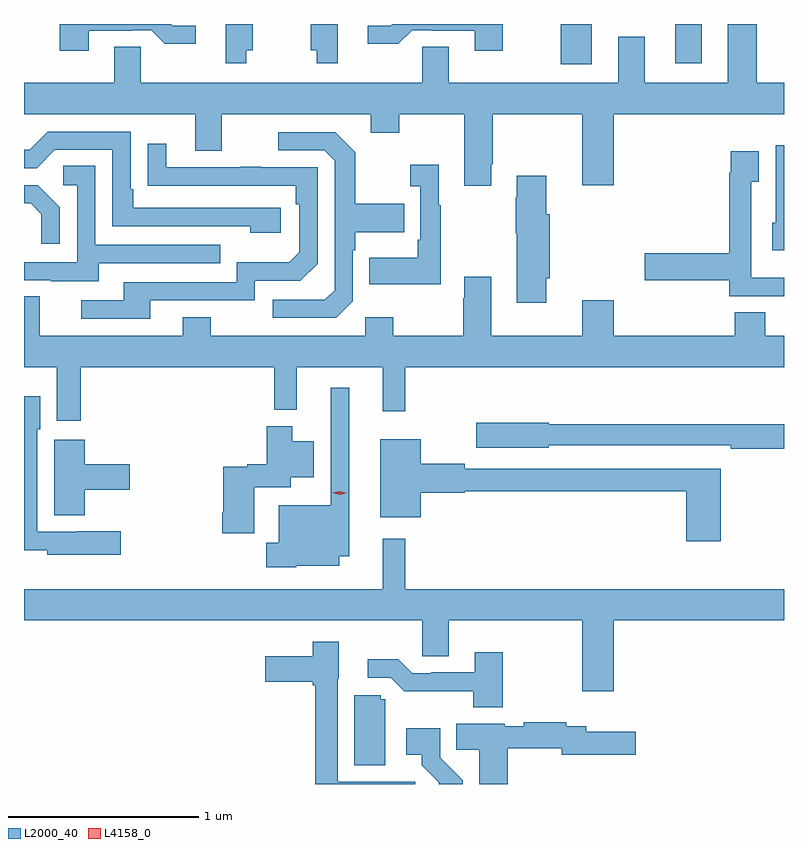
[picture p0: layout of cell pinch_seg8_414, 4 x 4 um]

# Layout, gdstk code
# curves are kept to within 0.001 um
import gdstk
lib = gdstk.Library(unit=1e-6, precision=1e-09)
def R(c, l, rs):  # rectangles x0, y0, x1, y1
    for r in rs: c.add(gdstk.rectangle(r[:2], r[2:], *l))
def P(c, l, *ps):  # polygons
    for p in ps: c.add(gdstk.Polygon(p, *l))
L2000_40 = (2000, 40)
L4158_0 = (4158, 0)

pinch_seg8_414 = lib.new_cell('pinch_seg8_414')
R(pinch_seg8_414, L2000_40, [(248.809,1135.41,248.974,1135.622), (249.413,1135.416,249.553,1135.622)])
P(pinch_seg8_414, L2000_40, [(248.443,1134.883),(248.451,1134.883),(248.451,1135.148),(248.924,1135.148),(248.924,1134.774),(249.088,1134.774),(249.088,1135.148),(249.985,1135.148),(249.985,1135.312),(249.842,1135.312),(249.842,1135.622),(249.689,1135.622),(249.689,1135.312),(249.253,1135.312),(249.253,1135.555),(249.113,1135.555),(249.113,1135.312),(248.221,1135.312),(248.221,1135.502),(248.082,1135.502),(248.082,1135.312),(246.6,1135.312),(246.6,1135.502),(246.461,1135.502),(246.461,1135.312),(245.985,1135.312),(245.985,1135.148),(246.887,1135.148),(246.887,1134.954),(247.027,1134.954),(247.027,1135.148),(247.811,1135.148),(247.811,1135.049),(247.959,1135.049),(247.959,1135.148),(248.303,1135.148),(248.303,1134.771),(248.443,1134.771)],
  [(247.156,1135.484),(247.188,1135.484),(247.188,1135.622),(247.046,1135.622),(247.046,1135.416),(247.156,1135.416)],
  [(248.505,1135.622),(247.922,1135.622),(247.914,1135.614),(247.794,1135.614),(247.794,1135.517),(247.955,1135.517),(248.028,1135.59),(248.128,1135.59),(248.128,1135.587),(248.357,1135.587),(248.357,1135.482),(248.505,1135.482)],
  [(246.325,1135.587),(246.554,1135.587),(246.554,1135.59),(246.654,1135.59),(246.727,1135.517),(246.889,1135.517),(246.889,1135.614),(246.768,1135.614),(246.76,1135.622),(246.173,1135.622),(246.173,1135.482),(246.325,1135.482)],
  [(247.636,1135.622),(247.495,1135.622),(247.495,1135.484),(247.527,1135.484),(247.527,1135.416),(247.636,1135.416)],
  [(247.336,1134.654),(246.559,1134.654),(246.559,1134.751),(246.546,1134.751),(246.546,1135.056),(246.111,1135.056),(246.015,1134.96),(245.985,1134.96),(245.985,1134.864),(246.051,1134.864),(246.147,1134.96),(246.45,1134.96),(246.45,1134.558),(247.175,1134.558),(247.175,1134.524),(247.336,1134.524)],
  [(247.716,1134.162),(247.716,1134.431),(247.729,1134.431),(247.729,1134.527),(247.985,1134.527),(247.985,1134.675),(247.729,1134.675),(247.729,1134.947),(247.623,1135.053),(247.323,1135.053),(247.323,1134.957),(247.566,1134.957),(247.62,1134.903),(247.62,1134.222),(247.569,1134.171),(247.293,1134.171),(247.293,1134.075),(247.629,1134.075)],
  [(246.649,1134.168),(247.2,1134.168),(247.2,1134.27),(247.44,1134.27),(247.53,1134.36),(247.53,1134.867),(247.235,1134.867),(247.235,1134.872),(247.123,1134.872),(247.123,1134.867),(246.733,1134.867),(246.733,1134.991),(246.637,1134.991),(246.637,1134.772),(247.414,1134.771),(247.414,1134.674),(247.434,1134.674),(247.434,1134.42),(247.381,1134.367),(247.104,1134.367),(247.104,1134.264),(246.509,1134.264),(246.509,1134.168),(246.285,1134.168),(246.285,1134.072),(246.649,1134.072)],
  [(249.985,1134.985),(249.941,1134.985),(249.941,1134.576),(249.923,1134.576),(249.923,1134.432),(249.985,1134.432)],
  [(249.985,1134.286),(249.813,1134.286),(249.813,1134.791),(249.853,1134.791),(249.853,1134.952),(249.705,1134.952),(249.705,1134.839),(249.697,1134.839),(249.697,1134.416),(249.252,1134.416),(249.252,1134.274),(249.697,1134.274),(249.697,1134.189),(249.947,1134.189),(249.947,1134.188),(249.985,1134.188)],
  [(248.179,1134.667),(248.167,1134.667),(248.167,1134.88),(248.019,1134.88),(248.019,1134.767),(248.07,1134.767),(248.07,1134.487),(248.058,1134.487),(248.058,1134.391),(247.801,1134.391),(247.801,1134.251),(248.179,1134.251)],
  [(246.379,1134.363),(247.019,1134.363),(247.019,1134.459),(246.36,1134.459),(246.36,1134.875),(246.192,1134.875),(246.192,1134.774),(246.264,1134.774),(246.264,1134.369),(245.985,1134.369),(245.985,1134.273),(246.125,1134.273),(246.125,1134.269),(246.379,1134.269)],
  [(248.734,1134.285),(248.752,1134.285),(248.752,1134.621),(248.734,1134.621),(248.734,1134.823),(248.579,1134.823),(248.579,1134.71),(248.572,1134.71),(248.572,1134.521),(248.579,1134.521),(248.579,1134.156),(248.734,1134.156)],
  [(246.174,1134.658),(246.058,1134.774),(245.985,1134.774),(245.985,1134.678),(246.02,1134.678),(246.077,1134.621),(246.077,1134.465),(246.174,1134.465)],
  [(249.985,1133.98),(249.885,1133.98),(249.885,1134.104),(249.725,1134.104),(249.725,1133.98),(249.088,1133.98),(249.088,1134.169),(248.924,1134.169),(248.924,1133.98),(248.443,1133.98),(248.443,1134.292),(248.303,1134.292),(248.303,1134.179),(248.296,1134.179),(248.296,1133.98),(247.929,1133.98),(247.929,1134.079),(247.782,1134.079),(247.782,1133.98),(246.969,1133.98),(246.969,1134.079),(246.821,1134.079),(246.821,1133.98),(246.067,1133.98),(246.067,1134.188),(245.985,1134.188),(245.985,1133.816),(246.158,1133.816),(246.158,1133.535),(246.284,1133.535),(246.284,1133.816),(247.303,1133.816),(247.303,1133.591),(247.421,1133.591),(247.421,1133.816),(247.874,1133.816),(247.874,1133.583),(247.991,1133.583),(247.991,1133.816),(249.985,1133.816)],
  [(247.419,1132.772),(247.645,1132.772),(247.645,1132.82),(247.696,1132.82),(247.696,1133.707),(247.599,1133.707),(247.599,1133.089),(247.325,1133.089),(247.325,1132.891),(247.26,1132.891),(247.26,1132.763),(247.419,1132.763)],
  [(246.493,1132.951),(246.266,1132.951),(246.266,1132.95),(246.054,1132.95),(246.054,1133.49),(246.07,1133.49),(246.07,1133.662),(245.985,1133.662),(245.985,1132.853),(246.108,1132.853),(246.108,1132.829),(246.493,1132.829)],
  [(249.985,1133.515),(248.748,1133.515),(248.748,1133.523),(248.364,1133.523),(248.364,1133.393),(248.748,1133.393),(248.748,1133.406),(249.706,1133.406),(249.706,1133.386),(249.985,1133.386)],
  [(247.196,1133.183),(247.39,1133.183),(247.39,1133.237),(247.51,1133.237),(247.51,1133.425),(247.396,1133.425),(247.396,1133.506),(247.262,1133.506),(247.262,1133.306),(247.161,1133.306),(247.161,1133.293),(247.033,1133.293),(247.033,1133.053),(247.028,1133.053),(247.028,1132.941),(247.196,1132.941)],
  [(249.653,1133.28),(248.304,1133.28),(248.304,1133.308),(248.074,1133.308),(248.074,1133.437),(247.859,1133.437),(247.859,1133.027),(248.074,1133.027),(248.074,1133.156),(248.304,1133.156),(248.304,1133.164),(249.47,1133.164),(249.47,1132.899),(249.653,1132.899)],
  [(246.305,1133.171),(246.541,1133.171),(246.541,1133.306),(246.305,1133.306),(246.305,1133.434),(246.143,1133.434),(246.143,1133.036),(246.305,1133.036)],
  [(249.088,1132.484),(249.985,1132.484),(249.985,1132.648),(247.991,1132.648),(247.991,1132.912),(247.873,1132.912),(247.873,1132.648),(245.985,1132.648),(245.985,1132.484),(248.082,1132.484),(248.082,1132.294),(248.221,1132.294),(248.221,1132.484),(248.924,1132.484),(248.924,1132.11),(249.088,1132.11)],
  [(248.044,1131.633),(247.635,1131.633),(247.635,1132.176),(247.642,1132.176),(247.642,1132.372),(247.506,1132.372),(247.506,1132.294),(247.254,1132.294),(247.254,1132.16),(247.506,1132.16),(247.506,1132.142),(247.519,1132.142),(247.519,1131.622),(248.044,1131.622)],
  [(248.505,1132.315),(248.357,1132.315),(248.357,1132.209),(248.128,1132.209),(248.128,1132.206),(248.028,1132.206),(247.955,1132.279),(247.794,1132.279),(247.794,1132.182),(247.914,1132.182),(247.987,1132.109),(248.35,1132.11),(248.35,1132.025),(248.505,1132.025)],
  [(247.885,1132.068),(247.863,1132.068),(247.863,1132.089),(247.724,1132.089),(247.724,1131.72),(247.885,1131.72)],
  [(248.531,1131.811),(248.816,1131.811),(248.816,1131.776),(249.205,1131.776),(249.205,1131.898),(248.944,1131.898),(248.944,1131.927),(248.84,1131.927),(248.84,1131.947),(248.614,1131.947),(248.614,1131.927),(248.514,1131.927),(248.514,1131.94),(248.26,1131.94),(248.26,1131.802),(248.381,1131.802),(248.381,1131.622),(248.531,1131.622)],
  [(248.294,1131.642),(248.175,1131.761),(248.175,1131.916),(247.998,1131.916),(247.998,1131.776),(248.078,1131.776),(248.078,1131.721),(248.169,1131.631),(248.169,1131.622),(248.294,1131.622)])
P(pinch_seg8_414, L4158_0, [(247.645,1133.144),(247.61,1133.156),(247.61,1133.156),(247.61,1133.156),(247.646,1133.164),(247.681,1133.153),(247.681,1133.153),(247.681,1133.153)])

lib.write_gds('pinch_seg8_414.gds')
